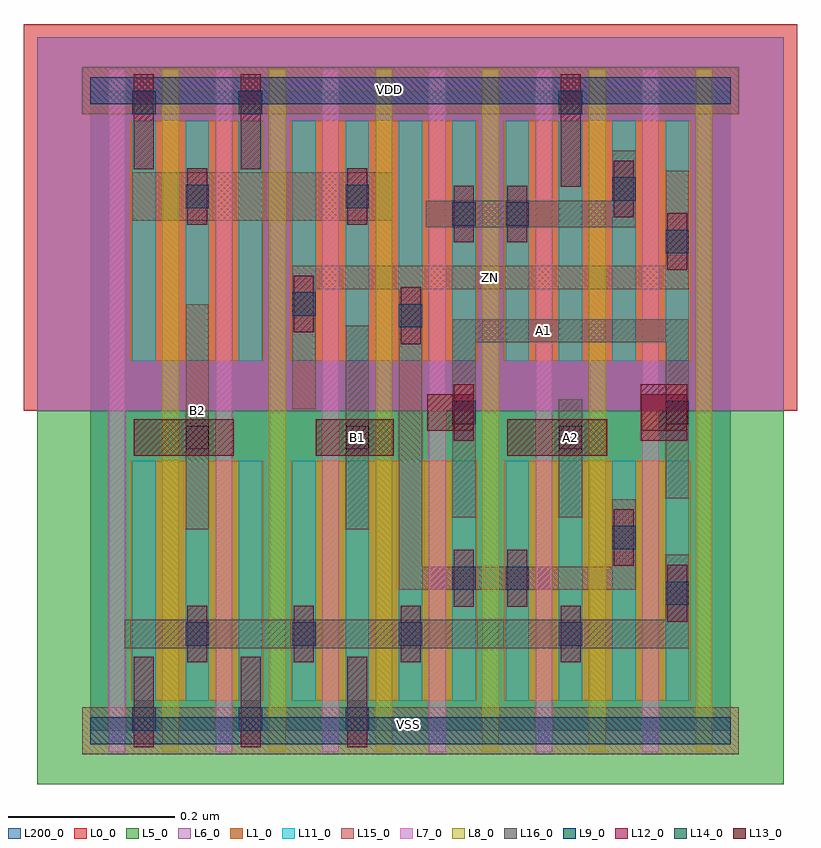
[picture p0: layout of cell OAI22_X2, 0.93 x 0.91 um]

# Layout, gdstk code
import gdstk
lib = gdstk.Library(unit=1e-6, precision=1e-09)
def R(c, l, rs):  # rectangles x0, y0, x1, y1
    for r in rs: c.add(gdstk.rectangle(r[:2], r[2:], *l))
def A(c, l, x, y, w, h, nx, ny, dx, dy):  # array of equal rectangles
    R(c, l, [(x+i*dx, y+j*dy, x+i*dx+w, y+j*dy+h) for i in range(nx) for j in range(ny)])
def P(c, l, *ps):  # polygons
    for p in ps: c.add(gdstk.Polygon(p, *l))
L0_0 = (0, 0)
L1_0 = (1, 0)
L5_0 = (5, 0)
L6_0 = (6, 0)
L7_0 = (7, 0)
L8_0 = (8, 0)
L9_0 = (9, 0)
L11_0 = (11, 0)
L12_0 = (12, 0)
L13_0 = (13, 0)
L14_0 = (14, 0)
L15_0 = (15, 0)
L16_0 = (16, 0)
L200_0 = (200, 0)

oai22_x2 = lib.new_cell('OAI22_X2')
R(oai22_x2, L0_0, [(-0.08,0.384,0.848,0.848)])
R(oai22_x2, L1_0, [(0.048,0.036,0.208,0.324), (0.24,0.036,0.464,0.324), (0.496,0.036,0.72,0.324), (0.048,0.444,0.208,0.732), (0.24,0.444,0.464,0.732), (0.496,0.444,0.72,0.732)])
R(oai22_x2, L5_0, [(-0.064,-0.064,0.832,0.384)])
R(oai22_x2, L6_0, [(-0.064,0.384,0.832,0.832)])
A(oai22_x2, L7_0, 0.022, -0.026, 0.02, 0.82, 6, 1, 0.128, 0)
A(oai22_x2, L8_0, 0.086, -0.026, 0.02, 0.82, 6, 1, 0.128, 0)
R(oai22_x2, L9_0, [(0,-0.016,0.768,0.016), (0,0.752,0.768,0.784)])
A(oai22_x2, L11_0, 0.05, 0.036, 0.028, 0.288, 11, 2, 0.064, 0.408)
A(oai22_x2, L12_0, 0.052, -0.02, 0.024, 0.109, 3, 1, 0.128, 0)
A(oai22_x2, L12_0, 0.116, 0.082, 0.024, 0.068, 3, 1, 0.128, 0)
R(oai22_x2, L12_0, [(0.564,0.082,0.588,0.15), (0.692,0.131,0.716,0.199), (0.436,0.149,0.46,0.217), (0.5,0.149,0.524,0.217), (0.628,0.198,0.652,0.266), (0.436,0.348,0.46,0.416), (0.66,0.348,0.716,0.416), (0.372,0.464,0.396,0.532), (0.244,0.478,0.268,0.546), (0.692,0.553,0.716,0.621), (0.436,0.586,0.46,0.654), (0.5,0.586,0.524,0.654), (0.116,0.607,0.14,0.675), (0.308,0.607,0.332,0.675), (0.628,0.616,0.652,0.684), (0.564,0.653,0.588,0.788), (0.052,0.674,0.076,0.788), (0.18,0.674,0.204,0.788)])
R(oai22_x2, L13_0, [(0.052,0.33,0.172,0.374), (0.27,0.33,0.364,0.374), (0.5,0.33,0.62,0.374), (0.404,0.36,0.46,0.404), (0.66,0.36,0.716,0.404)])
A(oai22_x2, L14_0, 0.05, 0, 0.028, 0.028, 3, 1, 0.128, 0)
A(oai22_x2, L14_0, 0.114, 0.102, 0.028, 0.028, 3, 1, 0.128, 0)
R(oai22_x2, L14_0, [(0.562,0.102,0.59,0.13), (0.69,0.151,0.718,0.179), (0.434,0.169,0.462,0.197), (0.498,0.169,0.526,0.197), (0.626,0.218,0.654,0.246), (0.114,0.338,0.142,0.366), (0.306,0.338,0.334,0.366), (0.562,0.338,0.59,0.366), (0.434,0.368,0.462,0.396), (0.69,0.368,0.718,0.396), (0.37,0.484,0.398,0.512), (0.242,0.498,0.27,0.526), (0.69,0.573,0.718,0.601), (0.434,0.606,0.462,0.634), (0.498,0.606,0.526,0.634), (0.114,0.627,0.142,0.655), (0.306,0.627,0.334,0.655), (0.626,0.636,0.654,0.664), (0.05,0.74,0.078,0.768), (0.178,0.74,0.206,0.768), (0.562,0.74,0.59,0.768)])
R(oai22_x2, L15_0, [(-0.01,-0.028,0.778,0.028), (0.114,0.242,0.142,0.512), (0.05,0.612,0.362,0.67), (-0.01,0.74,0.778,0.796)])
P(oai22_x2, L15_0, [(0.398,0.53),(0.718,0.53),(0.718,0.672),(0.69,0.672),(0.69,0.558),(0.242,0.558),(0.242,0.386),(0.27,0.386),(0.27,0.53),(0.37,0.53),(0.37,0.169),(0.654,0.169),(0.654,0.278),(0.626,0.278),(0.626,0.197),(0.398,0.197)])
R(oai22_x2, L16_0, [(0.306,0.242,0.334,0.486), (0.562,0.256,0.59,0.398)])
P(oai22_x2, L16_0, [(0.402,0.604),(0.654,0.604),(0.654,0.696),(0.626,0.696),(0.626,0.636),(0.402,0.636)],
  [(0.041,0.099),(0.718,0.099),(0.718,0.211),(0.69,0.211),(0.69,0.133),(0.041,0.133)],
  [(0.434,0.256),(0.462,0.256),(0.462,0.466),(0.69,0.466),(0.69,0.279),(0.718,0.279),(0.718,0.494),(0.434,0.494)])
R(oai22_x2, L200_0, [(0,0,0.768,0.768)])
oai22_x2.add(gdstk.Label('VSS', (0.382,0.008), layer=15, texttype=20))
oai22_x2.add(gdstk.Label('B2', (0.128,0.384), layer=15, texttype=20))
oai22_x2.add(gdstk.Label('ZN', (0.48,0.544), layer=15, texttype=20))
oai22_x2.add(gdstk.Label('VDD', (0.359,0.77), layer=15, texttype=20))
oai22_x2.add(gdstk.Label('B1', (0.32,0.352), layer=16, texttype=20))
oai22_x2.add(gdstk.Label('A1', (0.544,0.48), layer=16, texttype=20))
oai22_x2.add(gdstk.Label('A2', (0.576,0.352), layer=16, texttype=20))

lib.write_gds('OAI22_X2.gds')
